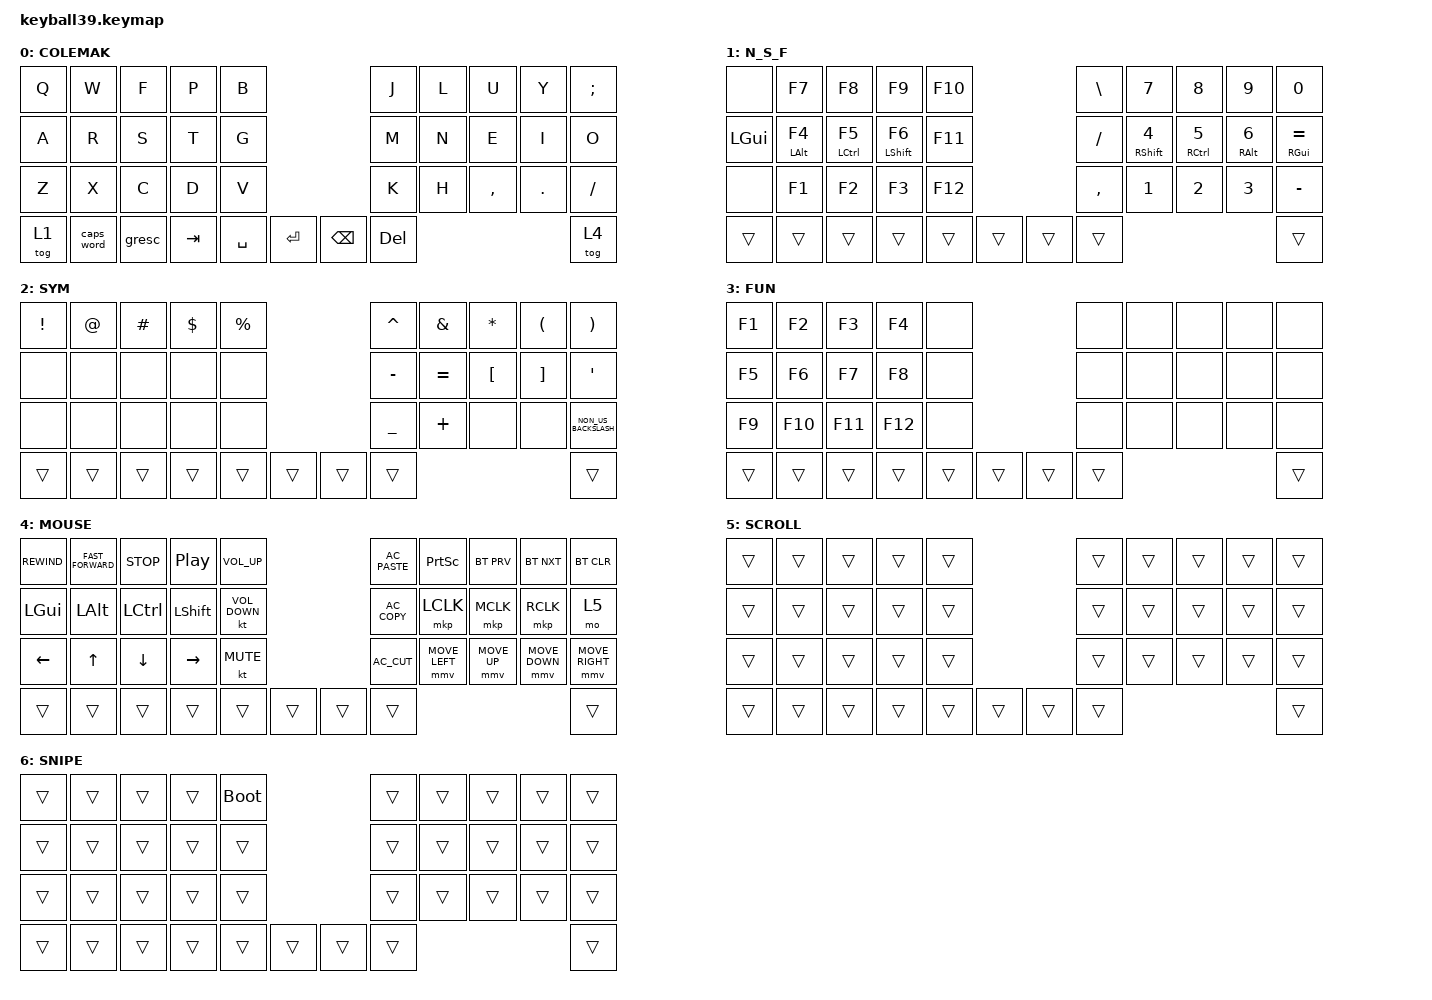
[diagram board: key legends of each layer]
#define DEFAULT 0
#define NUM     1
#define SYM     2
#define FUN     3
#define MOUSE   4
#define SCROLL  5
#define SNIPE   6

#include <behaviors/mouse_keys.dtsi>
#include <dt-bindings/zmk/mouse.h>
#include <behaviors.dtsi>
#include <dt-bindings/zmk/bt.h>
#include <dt-bindings/zmk/keys.h>
#include <dt-bindings/zmk/pointing.h>

&nice_view_spi { cs-gpios = <&pro_micro 1 GPIO_ACTIVE_HIGH>; };

&lt {
    tapping-term-ms = <240>;
    flavor = "balanced";
    quick-tap-ms = <150>;
};

&mt {
    tapping-term-ms = <200>;
    flavor = "tap-preferred";
    quick-tap-ms = <150>;
};

&caps_word { continue-list = <UNDERSCORE MINUS>; };

/ {
    // custom shift using mod-morph 

    behaviors {
        cmqus: comma_question {
            compatible = "zmk,behavior-mod-morph";
            label = "COMMA_QUESTION";
            #binding-cells = <0>;
            bindings = <&kp COMMA>, <&kp QUESTION>;

            mods = <(MOD_LSFT|MOD_RSFT)>;
        };

        dtsmi: dot_semi {
            compatible = "zmk,behavior-mod-morph";
            label = "DOT_SEMI";
            #binding-cells = <0>;
            bindings = <&kp DOT>, <&kp SEMI>;

            mods = <(MOD_LSFT|MOD_RSFT)>;
        };
    };

    macros {
        Hiragana: Hiragana {
            compatible = "zmk,behavior-macro";
            #binding-cells = <0>;
            bindings = <&kp LC(SPACE)>;
            label = "HIRAGANA";
        };
    };

    keymap {
        compatible = "zmk,keymap";

        default_layer {
            label = "COLEMAK";
            bindings = <
&kp Q   &kp W       &kp F   &kp P    &kp B                           &kp J    &kp L  &kp U      &kp Y    &kp SEMI
&kp A   &kp R       &kp S   &kp T    &kp G                           &kp M    &kp N  &kp E      &kp I    &kp O
&kp Z   &kp X       &kp C   &kp D    &kp V                           &kp K    &kp H  &kp COMMA  &kp DOT  &kp FSLH
&tog 1  &caps_word  &gresc  &kp TAB  &kp SPACE  &kp ENTER  &kp BSPC  &kp DEL                             &tog 4
            >;
        };

        num_sym_fun_layer {
            label = "N_S_F";
            bindings = <
&none         &kp F7           &kp F8        &kp F9             &kp F10                  &kp BSLH   &kp NUMBER_7        &kp NUMBER_8  &kp NUMBER_9            &kp NUMBER_0
&kp LEFT_GUI  &mt LEFT_ALT F4  &mt LCTRL F5  &mt LEFT_SHIFT F6  &kp F11                  &kp FSLH   &mt RIGHT_SHIFT N4  &mt RCTRL N5  &mt RIGHT_ALT NUMBER_6  &mt RIGHT_GUI EQUAL
&none         &kp F1           &kp F2        &kp F3             &kp F12                  &kp COMMA  &kp N1              &kp N2        &kp N3                  &kp MINUS
&trans        &trans           &trans        &trans             &trans   &trans  &trans  &trans                                                               &trans
            >;
        };

        symbol_layer {
            label = "SYM";
            bindings = <
&kp EXCLAMATION  &kp AT_SIGN  &kp HASH  &kp DOLLAR  &kp PERCENT                  &kp CARET       &kp AMPERSAND  &kp ASTERISK      &kp LEFT_PARENTHESIS  &kp RIGHT_PARENTHESIS
&none            &none        &none     &none       &none                        &kp MINUS       &kp EQUAL      &kp LEFT_BRACKET  &kp RIGHT_BRACKET     &kp SQT
&none            &none        &none     &none       &none                        &kp UNDERSCORE  &kp PLUS       &none             &none                 &kp NON_US_BACKSLASH
&trans           &trans       &trans    &trans      &trans       &trans  &trans  &trans                                                                 &trans
            >;
        };

        function_layer {
            label = "FUN";
            bindings = <
&kp F1  &kp F2   &kp F3   &kp F4   &none                   &none   &none  &none  &none  &none
&kp F5  &kp F6   &kp F7   &kp F8   &none                   &none   &none  &none  &none  &none
&kp F9  &kp F10  &kp F11  &kp F12  &none                   &none   &none  &none  &none  &none
&trans  &trans   &trans   &trans   &trans  &trans  &trans  &trans                       &trans
            >;
        };

        mouse_layer {
            label = "MOUSE";
            bindings = <
&kp C_REWIND  &kp C_FAST_FORWARD  &kp C_STOP  &kp C_PLAY_PAUSE  &kp C_VOL_UP                       &kp C_AC_PASTE  &kp PRINTSCREEN  &bt BT_PRV    &bt BT_NXT      &bt BT_CLR
&kp LGUI      &kp LALT            &kp LCTRL   &kp LSHFT         &kt C_VOLUME_DOWN                  &kp C_AC_COPY   &mkp LCLK        &mkp MCLK     &mkp RCLK       &mo 5
&kp LEFT      &kp UP              &kp DOWN    &kp RIGHT         &kt C_MUTE                         &kp C_AC_CUT    &mmv MOVE_LEFT   &mmv MOVE_UP  &mmv MOVE_DOWN  &mmv MOVE_RIGHT
&trans        &trans              &trans      &trans            &trans             &trans  &trans  &trans                                                         &trans
            >;
        };

        scroll_layer {
            label = "SCROLL";
            bindings = <
&trans  &trans  &trans  &trans  &trans                  &trans  &trans  &trans  &trans  &trans
&trans  &trans  &trans  &trans  &trans                  &trans  &trans  &trans  &trans  &trans
&trans  &trans  &trans  &trans  &trans                  &trans  &trans  &trans  &trans  &trans
&trans  &trans  &trans  &trans  &trans  &trans  &trans  &trans                          &trans
            >;
        };

        snipe_layer {
            label = "SNIPE";
            bindings = <
&trans  &trans  &trans  &trans  &bootloader                  &trans  &trans  &trans  &trans  &trans
&trans  &trans  &trans  &trans  &trans                       &trans  &trans  &trans  &trans  &trans
&trans  &trans  &trans  &trans  &trans                       &trans  &trans  &trans  &trans  &trans
&trans  &trans  &trans  &trans  &trans       &trans  &trans  &trans                          &trans
            >;
        };
    };
};
